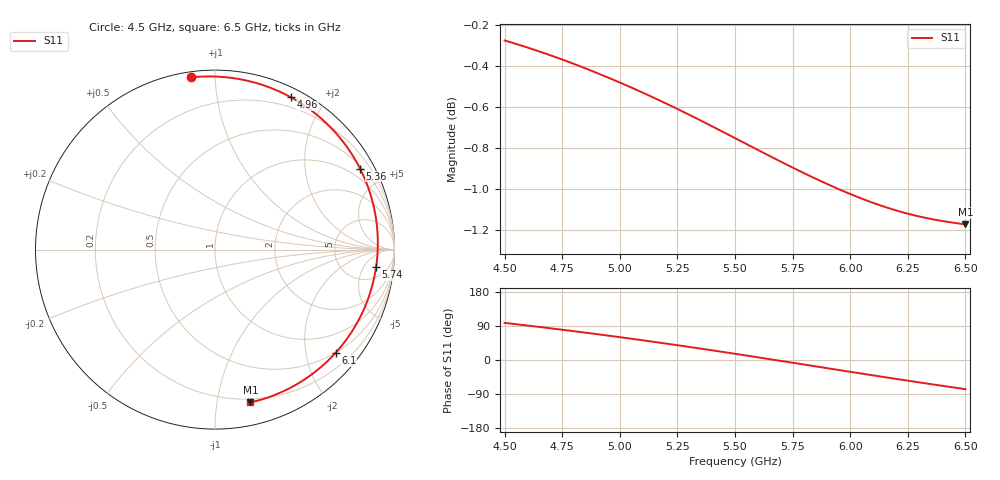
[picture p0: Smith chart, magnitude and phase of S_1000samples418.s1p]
! TOUCHSTONE file generated by CST MICROWAVE STUDIO
! Date and time: Fri Oct 28 02:51:04 2022
! Project name: L.cst
! Parameters = {Di=1.27; Epsilon_r=1.56; InnerDiameter=1.27; Length=2; Lf=10; Lg=60; OuterConductorThickness=0.2921; OuterDiameter=3.6; Wf=3; Wp=41.2; de=1.5; df=6.8; g=0.8; gx=4.53278; gy=4.46806; h=2.34; hf=1.524; px=9.16172; py=12.4706; w=9.7; wx=4.62893; wy=8.00255}
! Header version: 2018
! Port assignment regex: !\s*Touchstone port\s*([0-9]+)\s*=\s*(CST MWS port|CST DS port)\s*([0-9]+|Zmin|Zmax)\s*\(\"(.*)\"\)(\s*mode\s*([0-9]+))?.*
! Touchstone port assignment:
! Touchstone port 1 = CST MWS port 1 ("")
# GHz S DB R 50
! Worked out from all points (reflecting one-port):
!   101 points, 4.5 GHz to 6.5 GHz, reference 50 ohm
!   lowest |S11| = -1.2 dB at 6.5 GHz (marker M1), VSWR 14.86, Z = 8.63 - j62.2 ohm
!   phase of S11 starts at 98 deg and turns -175 deg over the sweep
!   S11 on the Smith chart (normalised r, x): 4.5 GHz: 0.03, +0.87; 4.96 GHz: 0.10, +1.61; 5.36 GHz: 0.59, +3.75; 5.74 GHz: 9, -10; 6.1 GHz: 0.50, -2.62; 6.5 GHz: 0.17, -1.24
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4.5  -0.28 97.9
4.64  -0.33 88.0
4.76  -0.37 79.1
4.86  -0.42 71.4
4.96  -0.46 63.5
5  -0.48 60.2
5.12  -0.54 50.3
5.18  -0.57 45.1
5.26  -0.62 38.1
5.36  -0.67 29.2
5.44  -0.72 21.9
5.5  -0.75 16.4
5.56  -0.79 10.8
5.62  -0.82 5.1
5.68  -0.86 -0.6
5.74  -0.89 -6.3
5.76  -0.90 -8.2
5.82  -0.93 -13.9
5.88  -0.96 -19.7
5.94  -0.99 -25.4
6  -1.02 -31.1
6.1  -1.07 -40.6
6.18  -1.10 -48.1
6.26  -1.12 -55.5
6.32  -1.14 -60.9
6.38  -1.15 -66.3
6.44  -1.16 -71.7
6.5  -1.17 -77.0
